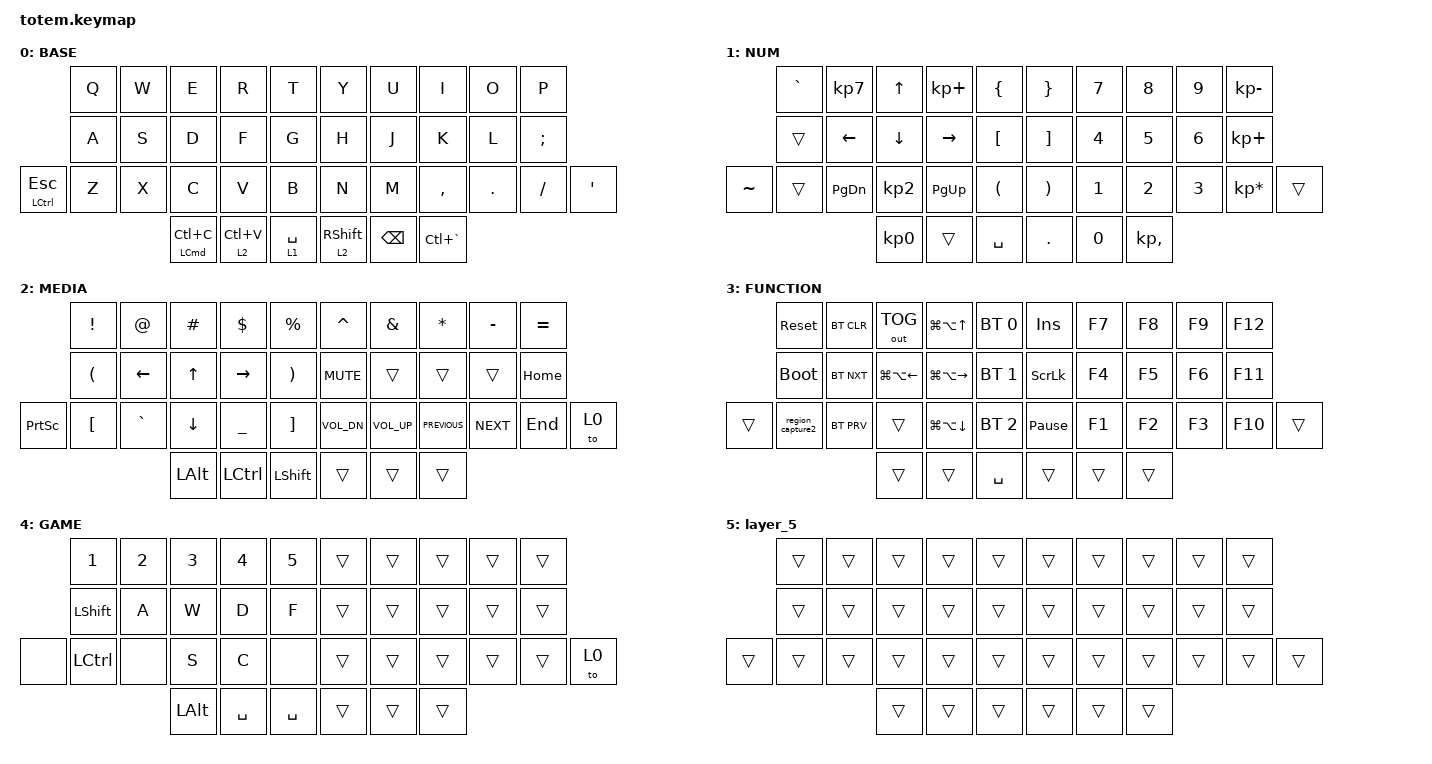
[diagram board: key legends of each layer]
//
//                                                        ▀▀▀▀▀     ▀▀▀▀▀          ▀▀█▀▀
//                                                        ▄▀▀▀▄  ▄  ▄▀▀▀▄  ▄  ▄▀▀▀▄  █  ▄▀▀▀▄
//                                                        █   █  █  █   █  █  █   █  █  █   █
//                                                         ▀▀▀   █   ▀▀▀   █   ▀▀▀   ▀   ▀▀▀
//                                                               █      ▄▄▄█▄▄▄    █   █  
//                                                               ▀      █  █  █     █▄█
//                                                             ▀▀▀▀▀    █  █  █      ▀
//                                                                      ▀  ▀  ▀
//
// ▄▄▄▄▄▄▄▄▄▄▄▄▄▄▄▄▄▄▄▄▄▄▄▄▄▄▄▄▄▄▄▄▄▄▄▄▄▄▄▄▄▄▄▄▄▄▄▄▄▄▄▄▄▄▄▄▄▄▄▄▄▄▄▄▄▄▄▄▄▄▄▄▄▄▄▄▄▄▄▄▄▄▄▄▄▄▄▄▄▄▄▄▄▄▄▄▄▄▄▄▄▄▄▄▄▄▄▄▄▄▄▄▄▄▄▄▄▄▄▄▄▄▄▄▄▄▄▄▄▄▄▄▄▄▄▄▄▄▄▄▄▄▄▄▄▄▄▄▄

#include <behaviors.dtsi>
#include <dt-bindings/zmk/bt.h>
#include <dt-bindings/zmk/keys.h>
#include <dt-bindings/zmk/outputs.h>

#define BASE      0
#define NUM       1
#define MEDIA     2
#define FUNCTION  3
#define GAME      4

&mt {
    quick-tap-ms = <100>;
    global-quick-tap;
    flavor = "tap-preferred";
    tapping-term-ms = <170>;
};

/ {
    behaviors {
        hm: homerow_mods {
            compatible = "zmk,behavior-hold-tap";
            label = "HOMEROW_MODS";
            #binding-cells = <2>;
            tapping-term-ms = <200>;			// <---[[produces tap if held longer than tapping-term-ms]]
            quick_tap_ms = <0>;
            flavor = "tap-preferred";
            bindings = <&kp>, <&kp>;
        };

        lc: layer_change {
            compatible = "zmk,behavior-hold-tap";
            #binding-cells = <2>;
            flavor = "hold-preferred";
            tapping-term-ms = <200>;
            quick-tap-ms = <200>;
            require-prior-idle-ms = <125>;
            bindings = <&to>, <&kp>;
        };

        sc: sticky_layer_change {
            compatible = "zmk,behavior-hold-tap";
            #binding-cells = <2>;
            flavor = "hold-preferred";
            tapping-term-ms = <200>;
            quick-tap-ms = <200>;
            require-prior-idle-ms = <125>;
            bindings = <&sl>, <&kp>;
        };

        dl: dualayer_change {
            compatible = "zmk,behavior-hold-tap";
            #binding-cells = <2>;
            flavor = "hold-preferred";
            tapping-term-ms = <200>;
            quick-tap-ms = <200>;
            require-prior-idle-ms = <125>;
            bindings = <&to>, <&sl>;
        };

        ts: temp_sticky {
            compatible = "zmk,behavior-hold-tap";
            #binding-cells = <2>;
            flavor = "hold-preferred";
            tapping-term-ms = <200>;
            quick-tap-ms = <200>;
            require-prior-idle-ms = <125>;
            bindings = <&mo>, <&to>;
        };
    };

    combos {
        compatible = "zmk,combos";

        combo_esc {
            timeout-ms = <50>;
            key-positions = <0 1>;
            layers = <0 1 2 3>;
            bindings = <&kp ESC>;
        };

        combo_undo {
            timeout-ms = <50>;
            key-positions = <34 35>;
            layers = <0 1 2 3>;
            bindings = <&kp LC(Z)>;
        };

        combo_shift1 {
            timeout-ms = <50>;
            key-positions = <12 13>;
            layers = <0>;
            bindings = <&kp LSHFT>;
        };

        combo_shift2 {
            timeout-ms = <50>;
            key-positions = <16 17>;
            layers = <0>;
            bindings = <&kp RSHFT>;
        };

        combo_ctrl1 {
            timeout-ms = <50>;
            key-positions = <11 13>;
            layers = <0>;
            bindings = <&kp LCTRL>;
        };

        combo_ctrl2 {
            timeout-ms = <50>;
            key-positions = <16 18>;
            layers = <0>;
            bindings = <&kp RCTRL>;
        };

        combo_alt1 {
            timeout-ms = <50>;
            key-positions = <13 10>;
            layers = <0>;
            bindings = <&kp LALT>;
        };

        combo_alt2 {
            timeout-ms = <50>;
            key-positions = <16 19>;
            layers = <0>;
            bindings = <&kp RALT>;
        };

        combo_super {
            timeout-ms = <50>;
            key-positions = <32 37>;
            layers = <0 2 3 1>;
            bindings = <&kp LGUI>;
        };

        combo_backspace1 {
            key-positions = <7 8>;
            timeout-ms = <50>;
            layers = <0 1 2 3>;
            bindings = <&kp BACKSPACE>;
        };

        to_game_layer {
            bindings = <&to 4>;
            key-positions = <4 5>;
            layers = <0 1 2 3>;
            timeout-ms = <50>;
        };

        region_screen {
            bindings = <&capture_region>;
            key-positions = <20 25>;
            layers = <0 1 2 3>;
            timeout-ms = <50>;
        };

        combo_del1 {
            bindings = <&kp DEL>;
            key-positions = <24 25>;
            timeout-ms = <50>;
            layers = <0 1 2 3>;
        };

        combo_del2 {
            bindings = <&kp DEL>;
            key-positions = <26 27>;
            timeout-ms = <50>;
            layers = <0 1 2 3>;
        };

        Enter {
            bindings = <&kp ENTER>;
            key-positions = <16 17 18>;
            layers = <0 1 2 3 4>;
            timeout-ms = <60>;
        };

        Tilde {
            bindings = <&kp TILDE>;
            key-positions = <20 0>;
            layers = <0 1 2 3 4>;
        };

        Combo_TAB {
            bindings = <&kp TAB>;
            key-positions = <10 11>;
            layers = <0 1 2 3 4>;
        };

        Combo_hyphen {
            bindings = <&kp MINUS>;
            key-positions = <31 19>;
            layers = <0 2 1 3 4>;
        };

        Function_layer {
            bindings = <&lc 3 CAPSLOCK>;
            key-positions = <20 31>;
            layers = <0 1 2 4>;
        };

        TO_BASE_LAYER {
            bindings = <&to 0>;
            key-positions = <20 31>;
            layers = <3>;
        };

        /* 			combo_copy {
                timeout-ms = <50>;
                key-positions = <5 31 24>;
                bindings = <&bootloader>;
            };
			combo_paste {
                timeout-ms = <50>;
                key-positions = <5 31 12>;
                bindings = <&bootloader>;
            }; */
    };

    macros {
        capture_region: capture_region {
            compatible = "zmk,behavior-macro";
            #binding-cells = <0>;
            bindings =
                <&macro_press>,
                <&kp LCTRL>,
                <&macro_tap>,
                <&kp PRINTSCREEN>,
                <&macro_release>,
                <&kp LCTRL>;

            label = "CAPTURE_REGION";
        };

        region_capture2: region_capture2 {
            compatible = "zmk,behavior-macro";
            #binding-cells = <0>;
            bindings =
                <&macro_press>,
                <&kp RCTRL>,
                <&macro_tap>,
                <&kp K_APP>,
                <&macro_release>,
                <&kp RCTRL>;

            label = "REGION_CAPTURE2";
        };
    };

    keymap {
        compatible = "zmk,keymap";

        // ▄▄▄▄▄▄▄▄▄▄▄▄▄▄▄▄▄▄▄▄▄▄▄▄▄▄▄▄▄▄▄▄▄▄▄▄▄▄▄▄▄▄▄▄▄▄▄▄▄▄▄▄▄▄▄▄▄▄▄▄▄▄▄▄▄▄▄▄▄▄▄▄▄▄▄▄▄▄▄▄▄▄▄▄▄▄▄▄▄▄▄▄▄▄▄▄▄▄▄▄▄▄▄▄▄▄▄▄▄▄▄▄▄▄▄▄▄▄▄▄▄▄▄▄▄▄▄▄▄▄▄▄▄▄▄▄▄▄▄▄▄▄▄▄▄▄▄▄▄

        base_layer {
            // ┏━━━━━━━━━━━━━━━━━━━━━━━━━━━━━━━━━━━━━━━┓

            label = "BASE";

            // ┗━━━━━━━━━━━━━━━━━━━━━━━━━━━━━━━━━━━━━━━┛
            //             ┌─────────┬─────────┬─────────┬─────────┬─────────┐                     ┌─────────┬─────────┬─────────┬─────────┬─────────┐
            //             │    Q    │    W    │    F    │    P    │    B    │                     │    J    │    L    │    U    │    Y    │    ;    │   
            //             ├─────────┼─────────┼─────────┼─────────┼─────────┤                     ├─────────┼─────────┼─────────┼─────────┼─────────┤
            //             │    A    │    R    │    S    │    T    │    G    │                     │    M    │    N    │    E    │    I    │    O    │
            //   ┌─────────┼─────────┼─────────┼─────────┼─────────┼─────────┤                     ├─────────┼─────────┼─────────┼─────────┼─────────┼─────────┐
            //   │   TAB   │    Z    │    X    │    C    │    D    │    V    │                     │    K    │    H    │    ,    │    .    │    /    │    '    │
            //   └─────────┴─────────┴─────────┴─────────┼─────────┼─────────┼──────────┬┬─────────┼─────────┼─────────┼─────────┴─────────┴─────────┴─────────┘
            //                                           │   COPY  │  PASTE  │  SPACE   ││  ENTER  │  BSPCE  │  DITTO  │  
            //                                           └─────────┴─────────┴──────────┘└─────────┴─────────┴─────────┘

            bindings = <
                         &kp Q  &kp W  &kp E                   &kp R        &kp T          &kp Y              &kp U     &kp I          &kp O    &kp P
                         &kp A  &kp S  &kp D                   &kp F        &kp G          &kp H              &kp J     &kp K          &kp L    &kp SEMI
&mt LEFT_CONTROL ESCAPE  &kp Z  &kp X  &kp C                   &kp V        &kp B          &kp N              &kp M     &kp COMMA      &kp DOT  &kp FSLH  &kp APOS
                                       &mt LEFT_COMMAND LC(C)  &lt 2 LC(V)  &lt 1 SPACE    &lt 2 RIGHT_SHIFT  &kp BSPC  &kp LC(GRAVE)
            >;
        };

        // ▄▄▄▄▄▄▄▄▄▄▄▄▄▄▄▄▄▄▄▄▄▄▄▄▄▄▄▄▄▄▄▄▄▄▄▄▄▄▄▄▄▄▄▄▄▄▄▄▄▄▄▄▄▄▄▄▄▄▄▄▄▄▄▄▄▄▄▄▄▄▄▄▄▄▄▄▄▄▄▄▄▄▄▄▄▄▄▄▄▄▄▄▄▄▄▄▄▄▄▄▄▄▄▄▄▄▄▄▄▄▄▄▄▄▄▄▄▄▄▄▄▄▄▄▄▄▄▄▄▄▄▄▄▄▄▄▄▄▄▄▄▄▄▄▄▄▄▄▄

        num_layer {
            // ┏━━━━━━━━━━━━━━━━━━━━━━━━━━━━━━━━━━━━━━━┓

            label = "NUM";

            // ┗━━━━━━━━━━━━━━━━━━━━━━━━━━━━━━━━━━━━━━━┛
            //             ┌─────────┬─────────┬─────────┬─────────┬─────────┐                     ┌─────────┬─────────┬─────────┬─────────┬─────────┐
            //             │    -    │    7    │    8    │    9    │    /    │                     │    /    │    7    │    8    │    9    │    -    │
            //             ├─────────┼─────────┼─────────┼─────────┼─────────┤                     ├─────────┼─────────┼─────────┼─────────┼─────────┤
            //             │    +    │    4    │    5    │    6    │    *    │                     │    *    │    4    │    5    │    6    │    +    │
            //   ┌─────────┼─────────┼─────────┼─────────┼─────────┼─────────┤                     ├─────────┼─────────┼─────────┼─────────┼─────────┼─────────┐
            //   │  PRINT  │    .    │    1    │    2    │    3    │ ------- │                     │ ------- │    1    │    2    │    3    │    .    │         │
            //   └─────────┴─────────┴─────────┴─────────┼─────────┼─────────┼──────────┬┬─────────┼─────────┼─────────┼─────────┴─────────┴─────────┴─────────┘
            //                                           │    0    │  ENTER  │  SPACE   ││  SPACE  │  ENTER  │    0    │ 
            //                                           └─────────┴─────────┴──────────┘└─────────┴─────────┴─────────┘

            bindings = <
           &kp GRAVE  &kp KP_N7       &kp UP_ARROW    &kp KP_PLUS      &kp LEFT_BRACE          &kp RIGHT_BRACE        &kp N7  &kp N8        &kp N9  &kp KP_MINUS
           &trans     &kp LEFT_ARROW  &kp DOWN_ARROW  &kp RIGHT_ARROW  &kp LEFT_BRACKET        &kp RIGHT_BRACKET      &kp N4  &kp N5        &kp N6  &kp KP_PLUS
&kp TILDE  &trans     &kp PAGE_DOWN   &kp KP_N2       &kp PAGE_UP      &kp LEFT_PARENTHESIS    &kp RIGHT_PARENTHESIS  &kp N1  &kp N2        &kp N3  &kp KP_MULTIPLY  &trans
                                      &kp KP_N0       &trans           &kp SPACE               &kp DOT                &kp N0  &kp KP_COMMA
            >;
        };

        // ▄▄▄▄▄▄▄▄▄▄▄▄▄▄▄▄▄▄▄▄▄▄▄▄▄▄▄▄▄▄▄▄▄▄▄▄▄▄▄▄▄▄▄▄▄▄▄▄▄▄▄▄▄▄▄▄▄▄▄▄▄▄▄▄▄▄▄▄▄▄▄▄▄▄▄▄▄▄▄▄▄▄▄▄▄▄▄▄▄▄▄▄▄▄▄▄▄▄▄▄▄▄▄▄▄▄▄▄▄▄▄▄▄▄▄▄▄▄▄▄▄▄▄▄▄▄▄▄▄▄▄▄▄▄▄▄▄▄▄▄▄▄▄▄▄▄▄▄▄

        media_layer {
            // ┏━━━━━━━━━━━━━━━━━━━━━━━━━━━━━━━━━━━━━━━┓

            label = "MEDIA";

            // ┗━━━━━━━━━━━━━━━━━━━━━━━━━━━━━━━━━━━━━━━┛
            //             ┌─────────┬─────────┬─────────┬─────────┬─────────┐                    ┌─────────┬─────────┬─────────┬─────────┬─────────┐
            //             │    !    │    @    │    #    │    $    │    %    │                    │    ^    │    &    │    *    │    -    │    +    │   
            //             ├─────────┼─────────┼─────────┼─────────┼─────────┤                    ├─────────┼─────────┼─────────┼─────────┼─────────┤
            //             │    (    │    ←    │    ↑    │    →    │    )    │                    │  PGUP   │    <    │  PLAY   │    >    │   HOME  │
            //   ┌─────────┼─────────┼─────────┼─────────┼─────────┼─────────┤                    ├─────────┼─────────┼─────────┼─────────┼─────────┼─────────┐
            //   │         │    [    │    `    │    ↓    │    _    │    ]    │                    │  PGDWN  │   VOL+  │  MUTE   │   VOL-  │   END   │  TO_0   │
            //   └─────────┴─────────┴─────────┴─────────┼─────────┼─────────┼─────────┬┬─────────┼─────────┼─────────┼─────────┴─────────┴─────────┴─────────┘
            //                                           │   ALT   │  CTRL   │  SHIFT  ││         │         │         │  
            //                                           └─────────┴─────────┴─────────┘└─────────┴─────────┴─────────┘

            bindings = <
                 &kp EXCL  &kp AT     &kp HASH  &kp DLLR   &kp PRCNT    &kp CARET     &kp AMPS      &kp ASTRK       &kp MINUS   &kp EQUAL
                 &kp LPAR  &kp LEFT   &kp UP    &kp RIGHT  &kp RPAR     &kp K_MUTE    &trans        &trans          &trans      &kp HOME
&kp PRINTSCREEN  &kp LBKT  &kp GRAVE  &kp DOWN  &kp UNDER  &kp RBKT     &kp C_VOL_DN  &kp C_VOL_UP  &kp C_PREVIOUS  &kp C_NEXT  &kp END    &to 0
                                      &kp LALT  &kp LCTRL  &kp LSHFT    &trans        &trans        &trans
            >;
        };

        // ▄▄▄▄▄▄▄▄▄▄▄▄▄▄▄▄▄▄▄▄▄▄▄▄▄▄▄▄▄▄▄▄▄▄▄▄▄▄▄▄▄▄▄▄▄▄▄▄▄▄▄▄▄▄▄▄▄▄▄▄▄▄▄▄▄▄▄▄▄▄▄▄▄▄▄▄▄▄▄▄▄▄▄▄▄▄▄▄▄▄▄▄▄▄▄▄▄▄▄▄▄▄▄▄▄▄▄▄▄▄▄▄▄▄▄▄▄▄▄▄▄▄▄▄▄▄▄▄▄▄▄▄▄▄▄▄▄▄▄▄▄▄▄▄▄▄▄▄▄

        function_layer {
            // ┏━━━━━━━━━━━━━━━━━━━━━━━━━━━━━━━━━━━━━━━┓

            label = "FUNCTION";

            // ┗━━━━━━━━━━━━━━━━━━━━━━━━━━━━━━━━━━━━━━━┛
            //             ┌─────────┬─────────┬─────────┬─────────┬─────────┐                     ┌─────────┬─────────┬─────────┬─────────┬─────────┐
            //             │  RESET  │  BT CLR │ OUT TOG │         │ BTSEL 0 │                     │   INS   │    F7   │    F8   │    F9   │   F12   │
            //             ├─────────┼─────────┼─────────┼─────────┼─────────┤                     ├─────────┼─────────┼─────────┼─────────┼─────────┤
            //             │  BOOTLD │ BT NEXT │         │         │ BTSEL 1 │                     │  SCRL   │    F4   │    F5   │    F6   │   F11   │
            //   ┌─────────┼─────────┼─────────┼─────────┼─────────┼─────────┤                     ├─────────┼─────────┼─────────┼─────────┼─────────┼─────────┐
            //   │         │         │ BT PREV │         │         │ BTSEL 2 │                     │  PAUSE  │    F1   │    F2   │    F3   │   F10   │         │
            //   └─────────┴─────────┴─────────┴─────────┼─────────┼─────────┼──────────┬┬─────────┼─────────┼─────────┼─────────┴─────────┴─────────┴─────────┘
            //                                           │         │         │  SPACE   ││         │         │         │ 
            //                                           └─────────┴─────────┴──────────┘└─────────┴─────────┴─────────┘

            bindings = <
        &sys_reset        &bt BT_CLR  &out OUT_TOG            &kp LG(LA(UP_ARROW))     &bt BT_SEL 0    &kp INSERT       &kp F7  &kp F8  &kp F9  &kp F12
        &bootloader       &bt BT_NXT  &kp LG(LA(LEFT_ARROW))  &kp LG(LA(RIGHT_ARROW))  &bt BT_SEL 1    &kp SLCK         &kp F4  &kp F5  &kp F6  &kp F11
&trans  &region_capture2  &bt BT_PRV  &trans                  &kp LG(LA(DOWN_ARROW))   &bt BT_SEL 2    &kp PAUSE_BREAK  &kp F1  &kp F2  &kp F3  &kp F10  &trans
                                      &trans                  &trans                   &kp SPACE       &trans           &trans  &trans
            >;
        };

        // ▄▄▄▄▄▄▄▄▄▄▄▄▄▄▄▄▄▄▄▄▄▄▄▄▄▄▄▄▄▄▄▄▄▄▄▄▄▄▄▄▄▄▄▄▄▄▄▄▄▄▄▄▄▄▄▄▄▄▄▄▄▄▄▄▄▄▄▄▄▄▄▄▄▄▄▄▄▄▄▄▄▄▄▄▄▄▄▄▄▄▄▄▄▄▄▄▄▄▄▄▄▄▄▄▄▄▄▄▄▄▄▄▄▄▄▄▄▄▄▄▄▄▄▄▄▄▄▄▄▄▄▄▄▄▄▄▄▄▄▄▄▄▄▄▄▄▄▄▄		

        game_layer {
            // ┏━━━━━━━━━━━━━━━━━━━━━━━━━━━━━━━━━━━━━━━┓

            label = "GAME";

            // ┗━━━━━━━━━━━━━━━━━━━━━━━━━━━━━━━━━━━━━━━┛
            //             ┌─────────┬─────────┬─────────┬─────────┬─────────┐                    ┌─────────┬─────────┬─────────┬─────────┬─────────┐
            //             │    1    │    2    │    3    │    4    │    5    │                    │         │         │         │         │         │   
            //             ├─────────┼─────────┼─────────┼─────────┼─────────┤                    ├─────────┼─────────┼─────────┼─────────┼─────────┤
            //             │  SHIFT  │    A    │    W    │    D    │    F    │                    │         │         │         │         │         │
            //   ┌─────────┼─────────┼─────────┼─────────┼─────────┼─────────┤                    ├─────────┼─────────┼─────────┼─────────┼─────────┼─────────┐
            //   │ ------- │  CRTL   │ ------- │    S    │    C    │ ------- │                    │         │         │         │         │         │         │
            //   └─────────┴─────────┴─────────┴─────────┼─────────┼─────────┼─────────┬┬─────────┼─────────┼─────────┼─────────┴─────────┴─────────┴─────────┘
            //                                           │   ALT   │  SPACE  │  SPACE  ││         │         │         │  
            //                                           └─────────┴─────────┴─────────┘└─────────┴─────────┴─────────┘

            bindings = <
       &kp N1     &kp N2  &kp N3    &kp N4     &kp N5       &trans  &trans  &trans  &trans  &trans
       &kp LSHFT  &kp A   &kp W     &kp D      &kp F        &trans  &trans  &trans  &trans  &trans
&none  &kp LCTRL  &none   &kp S     &kp C      &none        &trans  &trans  &trans  &trans  &trans  &to 0
                          &kp LALT  &kp SPACE  &kp SPACE    &trans  &trans  &trans
            >;
        };

        layer_5 {
            bindings = <
        &trans  &trans  &trans  &trans  &trans    &trans  &trans  &trans  &trans  &trans
        &trans  &trans  &trans  &trans  &trans    &trans  &trans  &trans  &trans  &trans
&trans  &trans  &trans  &trans  &trans  &trans    &trans  &trans  &trans  &trans  &trans  &trans
                        &trans  &trans  &trans    &trans  &trans  &trans
            >;
        };

        // ▄▄▄▄▄▄▄▄▄▄▄▄▄▄▄▄▄▄▄▄▄▄▄▄▄▄▄▄▄▄▄▄▄▄▄▄▄▄▄▄▄▄▄▄▄▄▄▄▄▄▄▄▄▄▄▄▄▄▄▄▄▄▄▄▄▄▄▄▄▄▄▄▄▄▄▄▄▄▄▄▄▄▄▄▄▄▄▄▄▄▄▄▄▄▄▄▄▄▄▄▄▄▄▄▄▄▄▄▄▄▄▄▄▄▄▄▄▄▄▄▄▄▄▄▄▄▄▄▄▄▄▄▄▄▄▄▄▄▄▄▄▄▄▄▄▄▄▄▄		
    };
};
